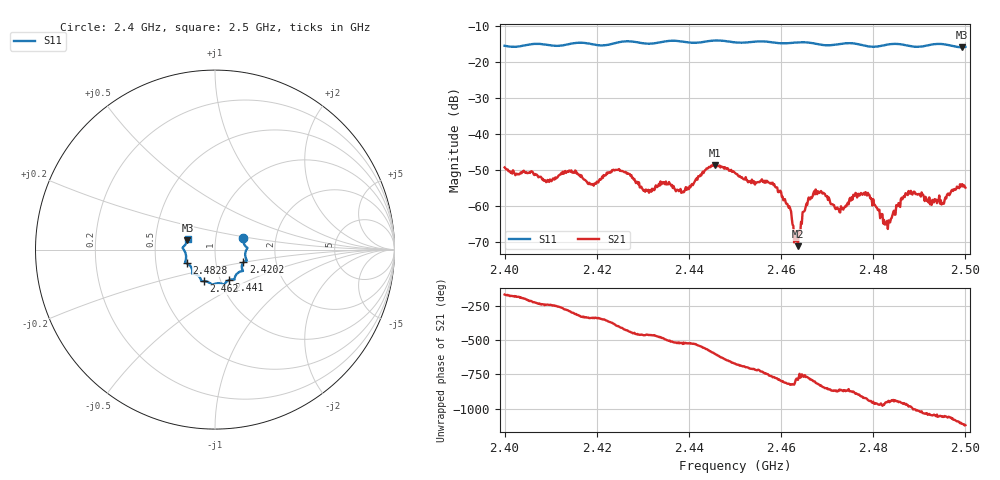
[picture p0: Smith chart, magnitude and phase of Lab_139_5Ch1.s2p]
# Hz S RI R 50
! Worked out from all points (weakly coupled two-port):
!   601 points, 2.4 GHz to 2.5 GHz, reference 50 ohm
!   highest |S21| = -48.53 dB at 2.4457 GHz (marker M1); lowest = -71.1 dB at 2.4637 GHz (marker M2)
!   lowest |S11| = -15.8 dB at 2.4993 GHz (marker M3), VSWR 1.39, Z = 36.5 + j3.84 ohm
!   |S11| at or under -10 dB: start of sweep to end of sweep
!   S12 and S22 are empty: the file has one direction only
!   S11 on the Smith chart (normalised r, x): 2.4 GHz: 1.36, +0.18; 2.4202 GHz: 1.36, -0.20; 2.441 GHz: 1.10, -0.39; 2.462 GHz: 0.84, -0.30; 2.4828 GHz: 0.72, -0.11; 2.5 GHz: 0.73, +0.09
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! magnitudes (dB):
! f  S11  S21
! 2.4 GHz  -15.4  -49.2
! 2.4167 GHz  -14.5  -51.4
! 2.4202 GHz  -15.2  -53.2
! 2.4243 GHz  -14.5  -49.8
! 2.4303 GHz  -14.7  -55.4
! 2.4333 GHz  -14.5  -54.2
! 2.441 GHz  -14.6  -53.7
! 2.4457 GHz  -13.9  -48.5
! 2.45 GHz  -14.4  -50.7
! 2.4582 GHz  -14.4  -53.4
! 2.462 GHz  -14.6  -60.7
! 2.4637 GHz  -14.4  -71.1
! 2.4667 GHz  -14.6  -57.6
! 2.469 GHz  -15.2  -56.4
! 2.473 GHz  -14.9  -60.0
! 2.4785 GHz  -15.4  -56.6
! 2.4828 GHz  -15.1  -64.8
! 2.4833 GHz  -15.0  -63.9
! 2.4875 GHz  -15.3  -56.9
! 2.495 GHz  -14.9  -59.1
! 2.4993 GHz  -15.8  -53.8
! 2.5 GHz  -15.7  -54.8
